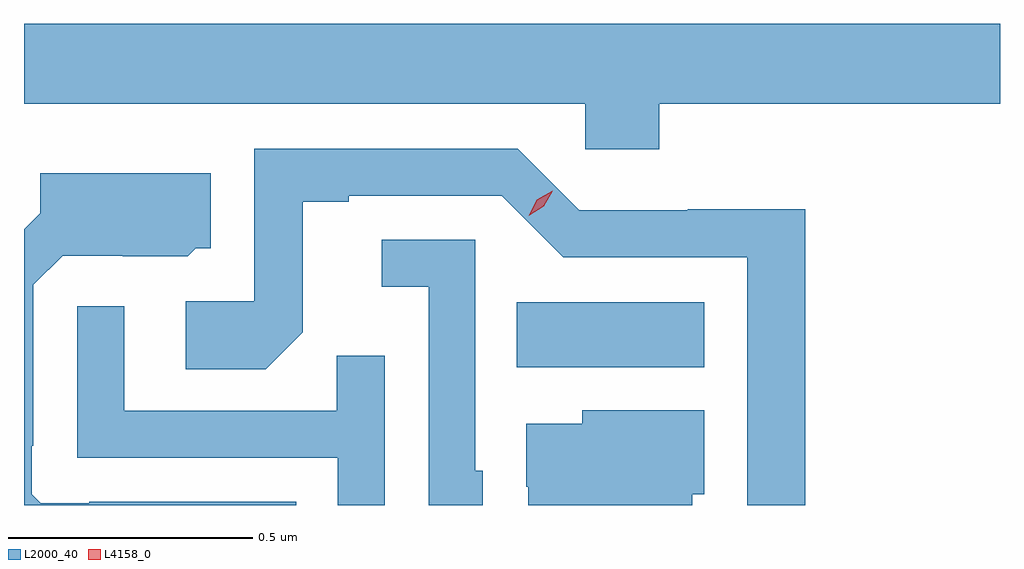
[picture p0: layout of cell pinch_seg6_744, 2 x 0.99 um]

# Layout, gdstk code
import gdstk
lib = gdstk.Library(unit=1e-6, precision=1e-09)
def R(c, l, rs):  # rectangles x0, y0, x1, y1
    for r in rs: c.add(gdstk.rectangle(r[:2], r[2:], *l))
def P(c, l, *ps):  # polygons
    for p in ps: c.add(gdstk.Polygon(p, *l))
L2000_40 = (2000, 40)
L4158_0 = (4158, 0)

pinch_seg6_744 = lib.new_cell('pinch_seg6_744')
R(pinch_seg6_744, L2000_40, [(617.776,944.132,618.16,944.266)])
P(pinch_seg6_744, L2000_40, [(618.068,944.672),(618.766,944.672),(618.766,944.836),(616.766,944.836),(616.766,944.672),(617.916,944.672),(617.916,944.579),(618.068,944.579)],
  [(618.367,944.456),(618.126,944.456),(618.126,944.454),(617.904,944.454),(617.778,944.58),(617.238,944.58),(617.238,944.268),(617.097,944.268),(617.097,944.128),(617.261,944.128),(617.337,944.204),(617.337,944.472),(617.431,944.472),(617.431,944.484),(617.745,944.484),(617.871,944.358),(618.248,944.358),(618.248,943.85),(618.367,943.85)],
  [(617.324,943.857),(616.9,943.857),(616.9,943.854),(616.8,943.854),(616.782,943.872),(616.782,943.972),(616.785,943.972),(616.785,944.301),(616.845,944.361),(616.968,944.361),(616.968,944.36),(617.102,944.36),(617.118,944.376),(617.149,944.376),(617.149,944.53),(616.799,944.53),(616.799,944.448),(616.766,944.415),(616.766,943.85),(617.324,943.85)],
  [(617.706,943.92),(617.691,943.92),(617.691,944.394),(617.499,944.394),(617.499,944.297),(617.595,944.297),(617.595,943.85),(617.706,943.85)],
  [(617.505,944.156),(617.407,944.156),(617.407,944.043),(616.971,944.043),(616.971,944.257),(616.875,944.257),(616.875,943.947),(617.409,943.947),(617.409,943.85),(617.505,943.85)],
  [(618.135,943.872),(618.16,943.872),(618.16,944.044),(617.91,944.044),(617.91,944.017),(617.795,944.017),(617.795,943.888),(617.799,943.888),(617.799,943.85),(618.135,943.85)])
P(pinch_seg6_744, L4158_0, [(617.8,944.443),(617.8,944.443),(617.817,944.476),(617.849,944.494),(617.849,944.494),(617.849,944.494),(617.831,944.462),(617.8,944.443)])

lib.write_gds('pinch_seg6_744.gds')
